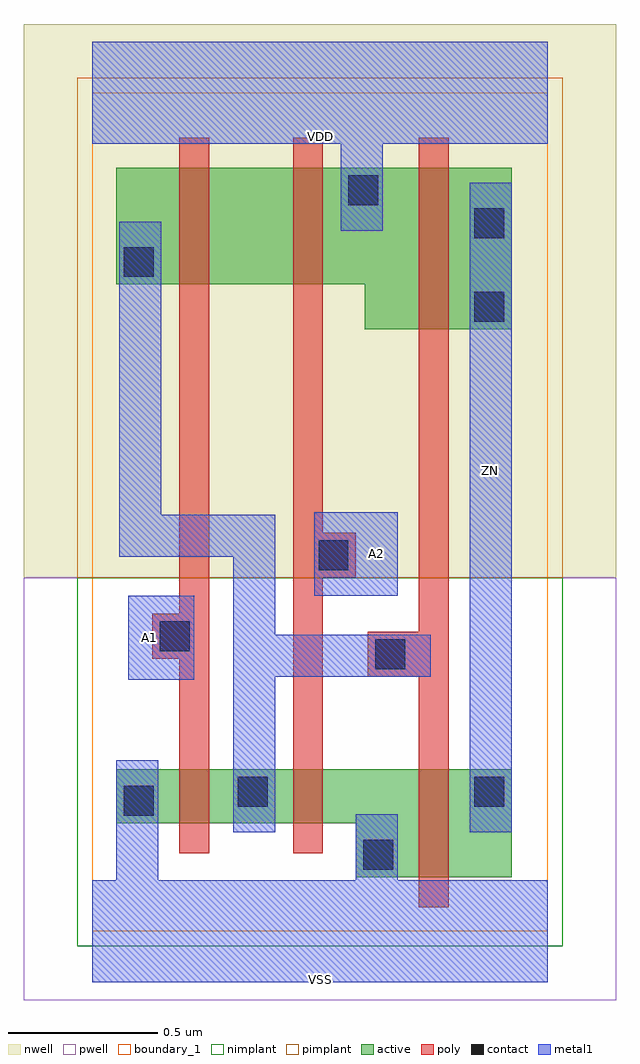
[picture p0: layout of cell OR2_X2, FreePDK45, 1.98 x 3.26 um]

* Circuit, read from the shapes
.subckt OR2_X2 A1 A2 VDD VSS ZN
M1 n1 A1 VSS VSUBS nfet w=0.18u l=0.1u
M2 VSS A2 n1 VSUBS nfet w=0.18u l=0.1u
M3 ZN n1 VSS VSUBS nfet w=0.36u l=0.1u
M4 n2 A1 n1 n3 pfet w=0.39u l=0.1u
M5 VDD A2 n2 n3 pfet w=0.39u l=0.1u
M6 ZN n1 VDD n3 pfet w=0.54u l=0.1u
.ends

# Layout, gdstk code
import gdstk
lib = gdstk.Library(unit=1e-6, precision=1e-09)
def R(c, l, rs):  # rectangles x0, y0, x1, y1
    for r in rs: c.add(gdstk.rectangle(r[:2], r[2:], *l))
def P(c, l, *ps):  # polygons
    for p in ps: c.add(gdstk.Polygon(p, *l))
active = (1, 0)
pwell = (2, 0)
nwell = (3, 0)
nimplant = (4, 0)
pimplant = (5, 0)
poly = (9, 0)
contact = (10, 0)
metal1 = (11, 0)
boundary_1 = (235, 1)

or2_x2 = lib.new_cell('OR2_X2')
P(or2_x2, active, [(0.08,2.16),(0.91,2.16),(0.91,2.01),(1.4,2.01),(1.4,2.55),(0.08,2.55)],
  [(0.08,0.36),(0.88,0.36),(0.88,0.18),(1.4,0.18),(1.4,0.54),(0.08,0.54)])
R(or2_x2, pwell, [(-0.23,-0.23,1.75,1.18)])
R(or2_x2, nwell, [(-0.23,1.18,1.75,3.03)])
R(or2_x2, nimplant, [(-0.05,-0.05,1.57,1.18)])
R(or2_x2, pimplant, [(-0.05,1.18,1.57,2.85)])
P(or2_x2, poly, [(0.92,0.85),(1.09,0.85),(1.09,0.08),(1.19,0.08),(1.19,2.65),(1.09,2.65),(1.09,1),(0.92,1)],
  [(0.67,0.26),(0.77,0.26),(0.77,1.18),(0.88,1.18),(0.88,1.33),(0.77,1.33),(0.77,2.65),(0.67,2.65)],
  [(0.2,0.91),(0.29,0.91),(0.29,0.26),(0.39,0.26),(0.39,2.65),(0.29,2.65),(0.29,1.06),(0.2,1.06)])
R(or2_x2, contact, [(0.905,0.205,1.005,0.305), (0.105,0.385,0.205,0.485), (0.485,0.415,0.585,0.515), (1.275,0.415,1.375,0.515), (0.945,0.875,1.045,0.975), (0.225,0.935,0.325,1.035), (0.755,1.205,0.855,1.305), (1.275,2.035,1.375,2.135), (0.105,2.185,0.205,2.285), (1.275,2.315,1.375,2.415), (0.855,2.425,0.955,2.525)])
R(or2_x2, metal1, [(1.26,0.33,1.4,2.5), (1.26,0.33,1.4,2.5), (0.12,0.84,0.34,1.12), (0.12,0.84,0.34,1.12), (0.74,1.12,1.02,1.4), (0.74,1.12,1.02,1.4)])
P(or2_x2, metal1, [(0,-0.17),(1.52,-0.17),(1.52,0.17),(1.02,0.17),(1.02,0.39),(0.88,0.39),(0.88,0.17),(0.22,0.17),(0.22,0.57),(0.08,0.57),(0.08,0.17),(0,0.17)],
  [(0,2.63),(0.83,2.63),(0.83,2.34),(0.97,2.34),(0.97,2.63),(1.52,2.63),(1.52,2.97),(0,2.97)],
  [(0,2.63),(0.83,2.63),(0.83,2.34),(0.97,2.34),(0.97,2.63),(1.52,2.63),(1.52,2.97),(0,2.97)],
  [(0,-0.17),(1.52,-0.17),(1.52,0.17),(1.02,0.17),(1.02,0.39),(0.88,0.39),(0.88,0.17),(0.22,0.17),(0.22,0.57),(0.08,0.57),(0.08,0.17),(0,0.17)],
  [(0.09,1.25),(0.47,1.25),(0.47,0.33),(0.61,0.33),(0.61,0.85),(1.13,0.85),(1.13,0.99),(0.61,0.99),(0.61,1.39),(0.23,1.39),(0.23,2.37),(0.09,2.37)])
R(or2_x2, boundary_1, [(0,0,1.52,2.8)])
or2_x2.add(gdstk.Label('ZN', (1.33,1.54), layer=11, texttype=0))
or2_x2.add(gdstk.Label('VSS', (0.76,-0.16), layer=11, texttype=0))
or2_x2.add(gdstk.Label('VDD', (0.76,2.655), layer=11, texttype=0))
or2_x2.add(gdstk.Label('A2', (0.95,1.26), layer=11, texttype=0))
or2_x2.add(gdstk.Label('A1', (0.19,0.98), layer=11, texttype=0))

lib.write_gds('OR2_X2.gds')
